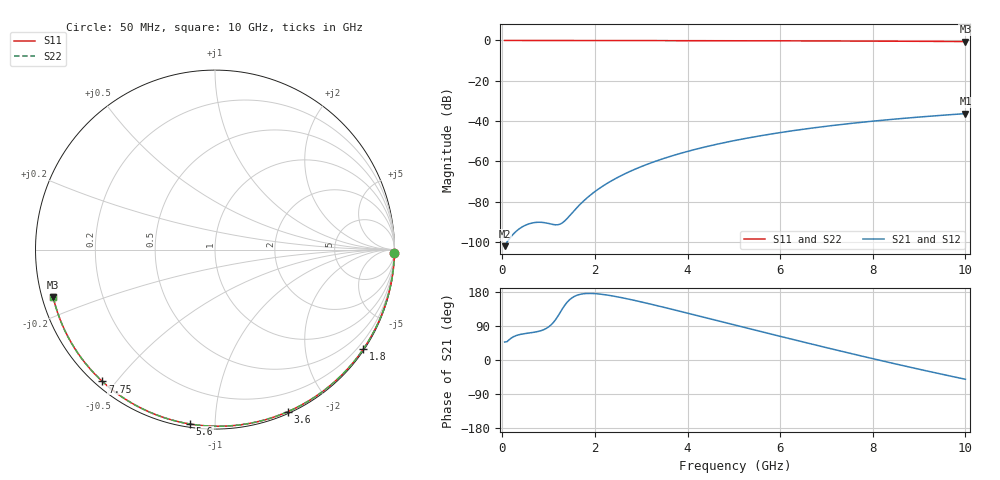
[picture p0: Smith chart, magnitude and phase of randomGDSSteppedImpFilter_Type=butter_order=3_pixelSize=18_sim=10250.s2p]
! freq	dB(S11)	phase(S11)	dB(S12)	phase(S12)
!  dB(S21)	phase(S21)	dB(S22)	phase(S22)
!S-par simulation data
#  GHz  S  DB  R 50
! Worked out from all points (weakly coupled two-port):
!   200 points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, 50 MHz to 10 GHz, reference 50 ohm
!   highest |S21| = -36.32 dB at 10 GHz (marker M1); lowest = -102.1 dB at 50 MHz (marker M2)
!   lowest |S11| = -0.5 dB at 10 GHz (marker M3), VSWR 32.12, Z = 1.59 - j7.15 ohm
!   |S11| at or under -10 dB: nowhere
!   |S22| runs from -0.5 to 0.0 dB; largest |S21 - S12| = 0
!   S11 on the Smith chart (normalised r, x): 50 MHz: open; 1.8 GHz: 0.03, -3.29; 3.6 GHz: 0.02, -1.55; 5.6 GHz: 0.02, -0.87; 7.75 GHz: 0.02, -0.46; 10 GHz: 0.03, -0.14
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0.05  -0.00 -1.0  -102.11 47.5  -102.11 47.5  -0.00 -1.0
0.45  -0.01 -8.6  -92.28 69.0  -92.28 69.0  -0.01 -8.6
0.85  -0.02 -16.2  -90.28 78.0  -90.28 78.0  -0.02 -16.2
1.25  -0.03 -23.7  -91.15 125.5  -91.15 125.5  -0.03 -23.7
1.7  -0.04 -32.0  -80.90 173.8  -80.90 173.8  -0.04 -32.0
1.75  -0.04 -32.9  -79.80 174.8  -79.80 174.8  -0.04 -32.9
1.8  -0.04 -33.8  -78.75 175.4  -78.75 175.4  -0.04 -33.8
1.95  -0.05 -36.6  -75.88 175.5  -75.88 175.5  -0.05 -36.6
2.1  -0.05 -39.3  -73.37 174.1  -73.37 174.1  -0.05 -39.3
2.45  -0.06 -45.6  -68.49 167.5  -68.49 167.5  -0.06 -45.6
2.9  -0.07 -53.6  -63.57 156.1  -63.57 156.1  -0.07 -53.6
3.4  -0.08 -62.3  -59.23 141.7  -59.23 141.7  -0.08 -62.3
3.6  -0.09 -65.7  -57.74 135.8  -57.74 135.8  -0.09 -65.7
4.3  -0.11 -77.5  -53.30 114.4  -53.30 114.4  -0.11 -77.5
5.05  -0.14 -89.6  -49.52 91.4  -49.52 91.4  -0.14 -89.6
5.6  -0.16 -98.2  -47.22 74.6  -47.22 74.6  -0.16 -98.2
6.15  -0.19 -106.7  -45.21 57.9  -45.21 57.9  -0.19 -106.7
6.7  -0.22 -115.0  -43.45 41.5  -43.45 41.5  -0.22 -115.0
7.75  -0.30 -130.5  -40.64 10.7  -40.64 10.7  -0.30 -130.5
8.35  -0.35 -139.3  -39.30 -6.4  -39.30 -6.4  -0.35 -139.3
9.2  -0.44 -151.8  -37.65 -29.8  -37.65 -29.8  -0.44 -151.7
10  -0.54 -163.7  -36.32 -50.8  -36.32 -50.8  -0.54 -163.7
